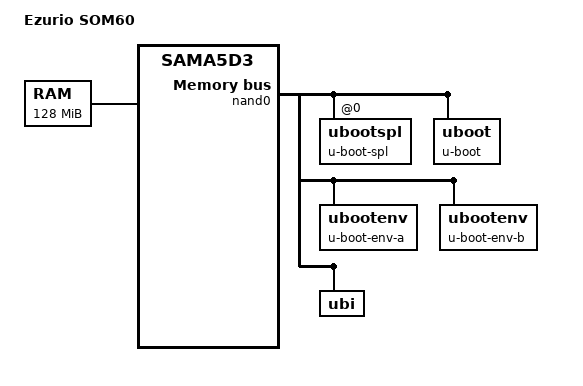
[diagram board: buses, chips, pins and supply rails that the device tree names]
// SPDX-License-Identifier: LicenseRef-Ezurio-Clause
/*
 * at91-som60.dtsi - Device Tree file for the SOM60 module
 *
 * Copyright (C) 2018 Ezurio
 */
#include "at91-som60_common.dtsi"

/ {
	model = "Ezurio SOM60";
	compatible = "summit,som60", "atmel,sama5d36", "atmel,sama5d3", "atmel,sama5";

	memory@20000000 {
		reg = <0x20000000 0x8000000>;
	};
};

&nand0 {
	ubootspl@0 {
		label = "u-boot-spl";
		reg = <0x0 0x20000>;
	};

	uboot@20000 {
		label = "u-boot";
		reg = <0x20000 0x100000>;
	};

	ubootenv@120000 {
		label = "u-boot-env-a";
		reg = <0x120000 0x20000>;
	};

	ubootenv@140000 {
		label = "u-boot-env-b";
		reg = <0x140000 0x20000>;
	};

	/* Leave last 4 blocks for bbt if nand-on-flash-bbt is defined */
	ubi@160000 {
		label = "ubi";
		reg = <0x160000 0>;
	};
};
